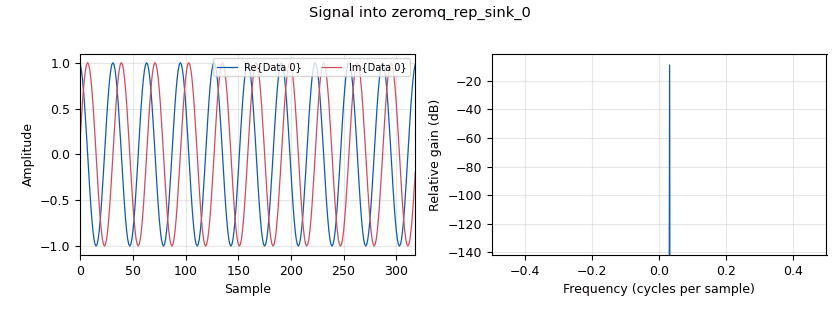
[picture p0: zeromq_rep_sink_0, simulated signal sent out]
options:
  parameters:
    generate_options: qt_gui
    id: receiveOnly
    output_language: python
    title: Not titled yet
  states: {}

blocks:
- name: samp_rate
  id: variable
  parameters:
    value: '32000'
  states: {}
- name: analog_sig_source_x_0
  id: analog_sig_source_x
  parameters:
    amp: '1'
    freq: '1000'
    offset: '0'
    phase: '0'
    samp_rate: samp_rate
    type: complex
    waveform: analog.GR_COS_WAVE
  states: {}
- name: blocks_null_sink_0
  id: blocks_null_sink
  parameters:
    type: complex
  states: {}
- name: blocks_throttle_0
  id: blocks_throttle
  parameters:
    samples_per_second: samp_rate
    type: complex
  states: {}
- name: zeromq_rep_sink_0
  id: zeromq_rep_sink
  parameters:
    address: tcp://127.0.0.1:50247
    pass_tags: 'True'
    timeout: '100'
    type: complex
  states: {}
- name: zeromq_req_source_0
  id: zeromq_req_source
  parameters:
    address: tcp://127.0.0.1:50247
    pass_tags: 'True'
    timeout: '100'
    type: complex
  states: {}

connections:
- [analog_sig_source_x_0, '0', blocks_throttle_0, '0']
- [blocks_throttle_0, '0', zeromq_rep_sink_0, '0']
- [zeromq_req_source_0, '0', blocks_null_sink_0, '0']

metadata:
  file_format: 1
